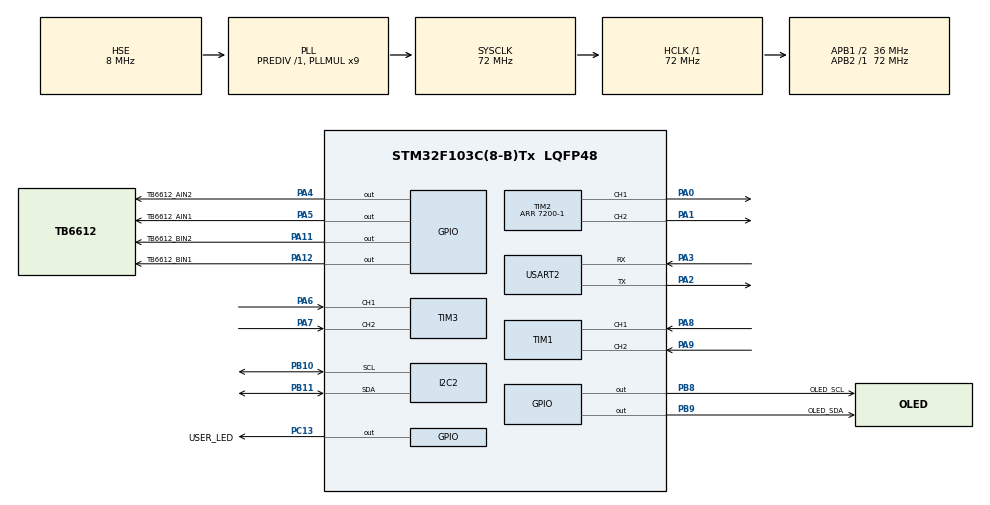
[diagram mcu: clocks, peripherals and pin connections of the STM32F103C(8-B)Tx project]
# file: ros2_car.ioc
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I2C2.I2C_Mode=I2C_Fast
Mcu.Family=STM32F1
Mcu.Name=STM32F103C(8-B)Tx
Mcu.Package=LQFP48
NVIC.PriorityGroup=NVIC_PRIORITYGROUP_4
NVIC.TIM4_IRQn=true\:0\:0\:false\:false\:true\:true\:true\:true
NVIC.USART2_IRQn=true\:0\:0\:false\:false\:true\:true\:true\:true
PA0-WKUP.Signal=S_TIM2_CH1_ETR
PA1.Signal=S_TIM2_CH2
PA11.GPIO_Label=TB6612_BIN2
PA11.GPIO_Speed=GPIO_SPEED_FREQ_MEDIUM
PA11.Signal=GPIO_Output
PA12.GPIO_Label=TB6612_BIN1
PA12.GPIO_Speed=GPIO_SPEED_FREQ_MEDIUM
PA12.Signal=GPIO_Output
PA13.Mode=Serial_Wire
PA13.Signal=SYS_JTMS-SWDIO
PA14.Mode=Serial_Wire
PA14.Signal=SYS_JTCK-SWCLK
PA2.Mode=Asynchronous
PA2.Signal=USART2_TX
PA3.Mode=Asynchronous
PA3.Signal=USART2_RX
PA4.GPIO_Label=TB6612_AIN2
PA4.GPIO_Speed=GPIO_SPEED_FREQ_MEDIUM
PA4.Signal=GPIO_Output
PA5.GPIO_Label=TB6612_AIN1
PA5.GPIO_Speed=GPIO_SPEED_FREQ_MEDIUM
PA5.Signal=GPIO_Output
PA6.Signal=S_TIM3_CH1
PA7.Signal=S_TIM3_CH2
PA8.Signal=S_TIM1_CH1
PA9.Signal=S_TIM1_CH2
PB10.Mode=I2C
PB10.Signal=I2C2_SCL
PB11.Mode=I2C
PB11.Signal=I2C2_SDA
PB8.GPIO_Label=OLED_SCL
PB8.GPIO_ModeDefaultOutputPP=GPIO_MODE_OUTPUT_OD
PB8.GPIO_PuPd=GPIO_NOPULL
PB8.GPIO_Speed=GPIO_SPEED_FREQ_MEDIUM
PB8.Signal=GPIO_Output
PB9.GPIO_Label=OLED_SDA
PB9.GPIO_ModeDefaultOutputPP=GPIO_MODE_OUTPUT_OD
PB9.GPIO_PuPd=GPIO_NOPULL
PB9.GPIO_Speed=GPIO_SPEED_FREQ_MEDIUM
PB9.Signal=GPIO_Output
PC13-TAMPER-RTC.GPIO_Label=USER_LED
PC13-TAMPER-RTC.GPIO_Speed=GPIO_SPEED_FREQ_HIGH
PC13-TAMPER-RTC.Signal=GPIO_Output
PD0-OSC_IN.Mode=HSE-External-Oscillator
PD0-OSC_IN.Signal=RCC_OSC_IN
PD1-OSC_OUT.Mode=HSE-External-Oscillator
PD1-OSC_OUT.Signal=RCC_OSC_OUT
ProjectManager.HeapSize=0x200
ProjectManager.StackSize=0x400
ProjectManager.TargetToolchain=STM32CubeIDE
RCC.AHBFreq_Value=72000000
RCC.APB1CLKDivider=RCC_HCLK_DIV2
RCC.APB1Freq_Value=36000000
RCC.APB1TimFreq_Value=72000000
RCC.APB2Freq_Value=72000000
RCC.APB2TimFreq_Value=72000000
RCC.HCLKFreq_Value=72000000
RCC.PLLMUL=RCC_PLL_MUL9
RCC.PLLSourceVirtual=RCC_PLLSOURCE_HSE
RCC.SYSCLKFreq_VALUE=72000000
RCC.SYSCLKSource=RCC_SYSCLKSOURCE_PLLCLK
RCC.USBFreq_Value=72000000
SH.S_TIM1_CH1.0=TIM1_CH1,Encoder_Interface
SH.S_TIM1_CH2.0=TIM1_CH2,Encoder_Interface
SH.S_TIM2_CH1_ETR.0=TIM2_CH1,PWM Generation1 CH1
SH.S_TIM2_CH2.0=TIM2_CH2,PWM Generation2 CH2
SH.S_TIM3_CH1.0=TIM3_CH1,Encoder_Interface
SH.S_TIM3_CH2.0=TIM3_CH2,Encoder_Interface
TIM1.EncoderMode=TIM_ENCODERMODE_TI12
TIM2.Channel-PWM\ Generation1\ CH1=TIM_CHANNEL_1
TIM2.Channel-PWM\ Generation2\ CH2=TIM_CHANNEL_2
TIM2.Period=7200-1
TIM3.EncoderMode=TIM_ENCODERMODE_TI12
TIM4.Period=100-1
TIM4.Prescaler=720-1
USART2.VirtualMode=VM_ASYNC
VP_TIM4_VS_ClockSourceINT.Mode=Internal
board=custom

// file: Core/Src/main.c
/* USER CODE BEGIN Header */
/**
  ******************************************************************************
  * @file           : main.c
  * @brief          : Main program body
  ******************************************************************************
  * @attention
  *
  * Copyright (c) 2026 STMicroelectronics.
  * All rights reserved.
  *
  * This software is licensed under terms that can be found in the LICENSE file
  * in the root directory of this software component.
  * If no LICENSE file comes with this software, it is provided AS-IS.
  *
  ******************************************************************************
  */
/* USER CODE END Header */
#include "main.h"
#include "i2c.h"
#include "tim.h"
#include "usart.h"
#include "gpio.h"

/* USER CODE BEGIN Includes */
#include "OLED.h"
#include "MPU6050.h"
#include "Encoder.h"
#include "TB6612.h"
/* USER CODE END Includes */

void SystemClock_Config(void);

/* USER CODE BEGIN 0 */
#include <stdio.h>

#ifdef __GNUC__
#define PUTCHAR_PROTOTYPE int __io_putchar(int ch)
#else
#define PUTCHAR_PROTOTYPE int fputc(int ch, FILE *f)
#endif
PUTCHAR_PROTOTYPE
{
    HAL_UART_Transmit(&huart2 , (uint8_t *)&ch, 1, 0xFFFF);
    return ch;
}

#include <stdarg.h>
#include <string.h>
#include <stdlib.h>
#include <math.h>

float cmd_vel(char *str, char *data)
{
  char *loc,*token;
  float a;

  loc = strstr(data, str);
  token = strtok(loc, str);
  a = atof(token);

  return a;
}

float p_calc(float kp, float target, float current)
{
	 float err = target - current;

	 return kp * err;
}

float pi_calc(float kp, float ki, float *err_sum, float ki_max, float target, float current)
{
    float err = target - current;

    *err_sum += err;

    if (*err_sum > ki_max) *err_sum = ki_max;
    if (*err_sum < -ki_max) *err_sum = -ki_max;

    return kp * err + ki * *err_sum;
}

float gyroz = 0.0;
float left_speed = 0.0, right_speed = 0.0;
float target_speed = 0.0, target_angle = 0.0;
float left_speed_out = 0.0, right_speed_out = 0.0, angle_out = 0.0;
float left_speed_err_sum = 0.0, right_speed_err_sum = 0.0;

uint8_t tick_motor = 0, tick_encoder = 0, tick_gyroz = 0;
uint8_t rx_flag = 0, rx_byte = 0, rx_data[64];
/* USER CODE END 0 */

int main(void)
{

  /* MCU Configuration--------------------------------------------------------*/

  /* Reset of all peripherals, Initializes the Flash interface and the Systick. */
  HAL_Init();

  /* Configure the system clock */
  SystemClock_Config();

  /* Initialize all configured peripherals */
  MX_GPIO_Init();
  MX_I2C2_Init();
  MX_TIM3_Init();
  MX_TIM1_Init();
  MX_USART2_UART_Init();
  MX_TIM2_Init();
  MX_TIM4_Init();
  /* USER CODE BEGIN 2 */
  OLED_Init();
  OLED_ShowString(1, 1, "Init...");

  while(MPU6050_DMP_Init());
  Encoder_Init();
  TB6612_Init();

  OLED_Clear();
  OLED_ShowString(1, 1, "Gyroz:");
  OLED_ShowString(2, 1, "Lspd:");
  OLED_ShowString(3, 1, "Rspd:");

  HAL_UART_Receive_IT(&huart2, &rx_byte, 1);
  HAL_TIM_Base_Start_IT(&htim4);
  /* USER CODE END 2 */

  /* Infinite loop */
  /* USER CODE BEGIN WHILE */
  while (1)
  {
	gyroz = MPU6050_DMP_GetROSGyroz();
	Encoder_Read(&left_speed, &right_speed);

	OLED_ShowSignedFloat(1, 7, gyroz, 4);
	OLED_ShowSignedFloat(2, 7, left_speed, 4);
	OLED_ShowSignedFloat(3, 7, -right_speed, 4);

	printf("(%.2f,%.2f,%.2f)\r\n", gyroz, left_speed, -right_speed);

	if(rx_flag == 1)
	{
		// [修复]：使用临时缓冲区，防止解析过程中rx_data被中断修改
		char temp_rx_data[64];

		// 1. 暂时关闭串口接收中断（或只要保证拷贝过程原子性）
		// 为了简单安全，我们直接拷贝。因为中断是单字节接收，拷贝速度远快于波特率，通常也是安全的。
		// 但最严谨的做法是先拷贝再清除标志位
		strcpy(temp_rx_data, (char*)rx_data);

		// 2. 清除标志位，允许下一帧数据开始准备
		rx_flag = 0;

		// 3. 解析拷贝出来的数据
		float temp_speed = cmd_vel("x=", temp_rx_data);
		float temp_angle = cmd_vel("z=", temp_rx_data);

		// 4. 简单的滤波或限幅，防止解析出非法值（可选但推荐）
		if(temp_speed > -10.0 && temp_speed < 10.0) target_speed = temp_speed;
		if(temp_angle > -2 && temp_angle < 2) target_angle = temp_angle;
	}

	HAL_Delay(10);
    /* USER CODE END WHILE */

  }
}

void SystemClock_Config(void)
{
  RCC_OscInitTypeDef RCC_OscInitStruct = {0};
  RCC_ClkInitTypeDef RCC_ClkInitStruct = {0};

  /** Initializes the RCC Oscillators according to the specified parameters
  * in the RCC_OscInitTypeDef structure.
  */
  RCC_OscInitStruct.OscillatorType = RCC_OSCILLATORTYPE_HSE;
  RCC_OscInitStruct.HSEState = RCC_HSE_ON;
  RCC_OscInitStruct.HSEPredivValue = RCC_HSE_PREDIV_DIV1;
  RCC_OscInitStruct.HSIState = RCC_HSI_ON;
  RCC_OscInitStruct.PLL.PLLState = RCC_PLL_ON;
  RCC_OscInitStruct.PLL.PLLSource = RCC_PLLSOURCE_HSE;
  RCC_OscInitStruct.PLL.PLLMUL = RCC_PLL_MUL9;
  if (HAL_RCC_OscConfig(&RCC_OscInitStruct) != HAL_OK)
  {
    Error_Handler();
  }

  /** Initializes the CPU, AHB and APB buses clocks
  */
  RCC_ClkInitStruct.ClockType = RCC_CLOCKTYPE_HCLK|RCC_CLOCKTYPE_SYSCLK
                              |RCC_CLOCKTYPE_PCLK1|RCC_CLOCKTYPE_PCLK2;
  RCC_ClkInitStruct.SYSCLKSource = RCC_SYSCLKSOURCE_PLLCLK;
  RCC_ClkInitStruct.AHBCLKDivider = RCC_SYSCLK_DIV1;
  RCC_ClkInitStruct.APB1CLKDivider = RCC_HCLK_DIV2;
  RCC_ClkInitStruct.APB2CLKDivider = RCC_HCLK_DIV1;

  if (HAL_RCC_ClockConfig(&RCC_ClkInitStruct, FLASH_LATENCY_2) != HAL_OK)
  {
    Error_Handler();
  }
}

/* USER CODE BEGIN 4 */
void HAL_UART_RxCpltCallback(UART_HandleTypeDef *huart)
{
  if(huart == &huart2)
  {
	// (x=1.24,z=2.54)
	// 接收并解析格式为 "(data)" 的数据
	static uint8_t rx_state = 0;
	static uint8_t rx_cnt = 0;

	if(rx_state == 0)
	{
	  if(rx_byte == '(' && rx_flag == 0)
	  {
		rx_state = 1;
		rx_cnt = 0;
		memset(rx_data, 0, sizeof(rx_data));
	  }
	}
	else if(rx_state == 1)
	{
	  if(rx_byte == ')')
	  {
		rx_state = 0;
		rx_data[rx_cnt] = '\0';
		rx_flag = 1;
	  }
	  else
	  {
		rx_data[rx_cnt] = rx_byte;
		rx_cnt++;
	  }
	}

	HAL_UART_Receive_IT(&huart2, &rx_byte, 1);
  }
}

void HAL_TIM_PeriodElapsedCallback(TIM_HandleTypeDef *htim)
{
    if(htim == &htim4)
    {
        if(tick_motor++ >= 2)
        {
            TB6612_Motor(left_speed_out + angle_out, right_speed_out - angle_out);
            tick_motor = 0;
        }
        if(tick_gyroz++ >= 2)
        {
            angle_out = p_calc(-1500.0, target_angle, gyroz);
            tick_gyroz = 0;
        }
        if(tick_encoder++ >= 10)
        {
            left_speed_out = pi_calc(1000.0, 200.0, &left_speed_err_sum, 10000.0, target_speed, (left_speed - right_speed) / 2);
            right_speed_out = pi_calc(1000.0, 200.0, &right_speed_err_sum, 10000.0, target_speed, (left_speed - right_speed) / 2);
            tick_encoder = 0;
        }
    }
}
/* USER CODE END 4 */

void Error_Handler(void)
{
  __disable_irq();
  while (1)
  {
  }
}
